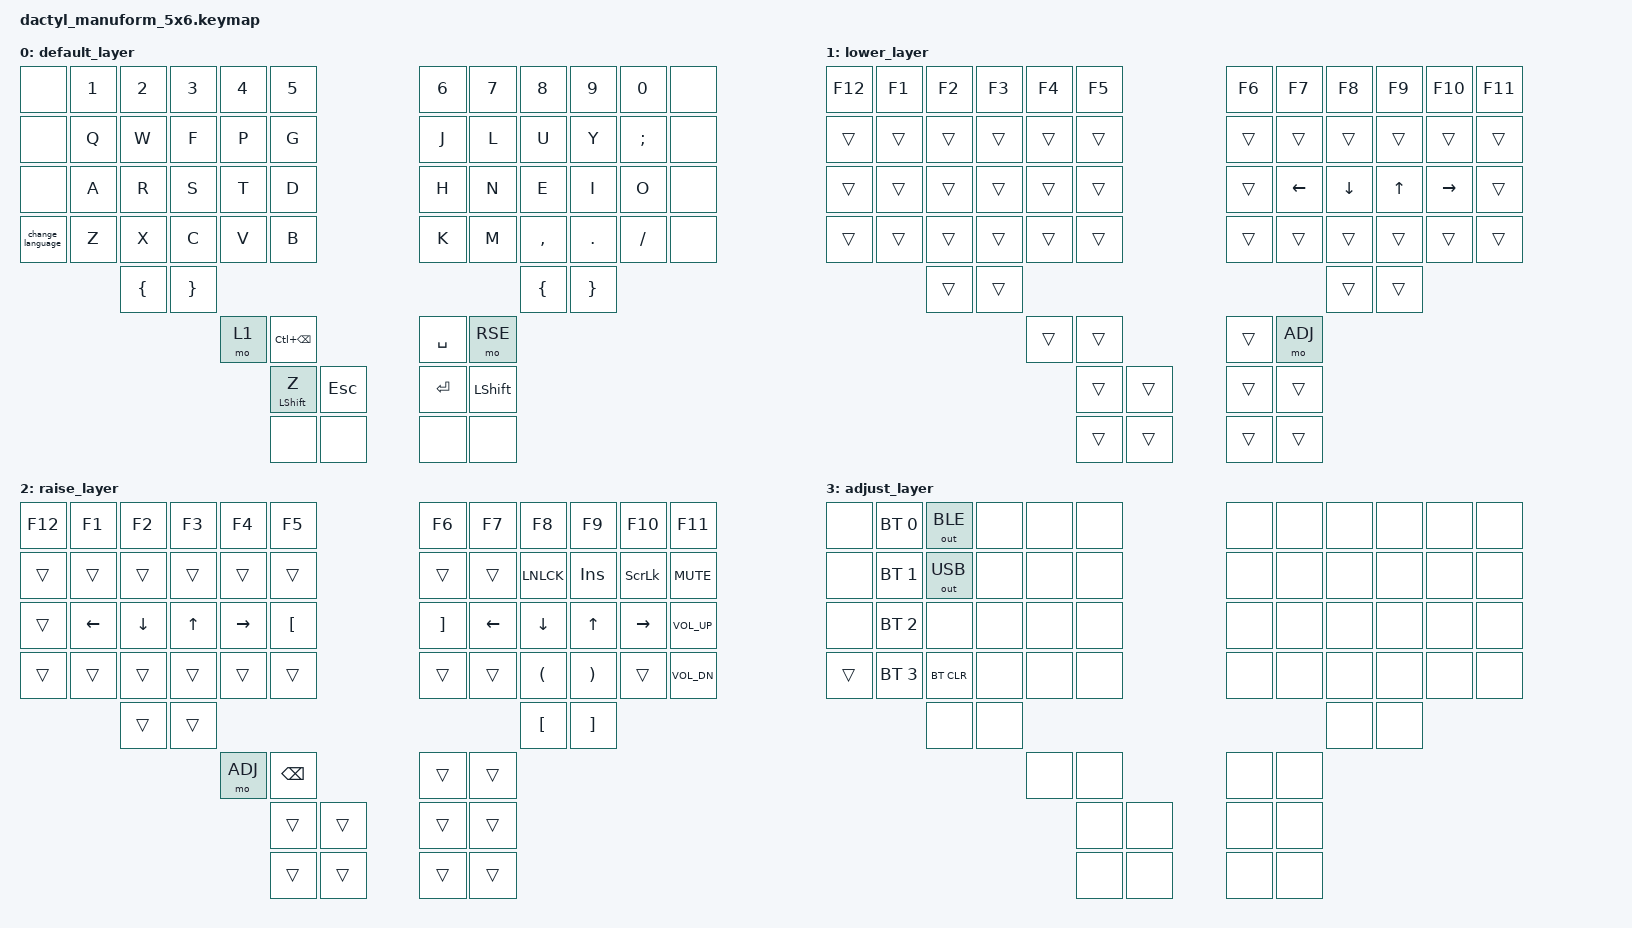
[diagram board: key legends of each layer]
#include <behaviors.dtsi>
#include <dt-bindings/zmk/bt.h>
#include <dt-bindings/zmk/keys.h>
#include <dt-bindings/zmk/outputs.h>

#define DEFAULT 0
#define LWR 1
#define RSE 2
#define ADJ 3
#define SPLIT_WATCHDOG_ENABLE

/ {
    behaviors {
        hml: home_row_mod_left {
            compatible = "zmk,behavior-hold-tap";
            label = "HOME_ROW_MOD_LEFT";
            flavor = "hold-preferred";
            tapping-term-ms = <280>;

            //require-prior-idle-ms = <150>;
            //quick-tap-ms = <175>;

            bindings = <&kp>, <&kp>;

            #binding-cells = <2>;
            hold-trigger-key-positions = <52 53>; // List of keys on the right side of the keyboard
            hold-trigger-on-release;
        };

        hmr: home_row_mod_right {
            compatible = "zmk,behavior-hold-tap";
            label = "HOME_ROW_MOD_RIGHT";
            flavor = "balanced";

            //require-prior-idle-ms = <150>;

            tapping-term-ms = <280>;

            //quick-tap-ms = <175>;

            bindings = <&kp>, <&kp>;

            #binding-cells = <2>; // List of keys on the left side of the keyboard
            hold-trigger-on-release;
        };

        test_behaviour: test_behaviour {
            compatible = "zmk,behavior-hold-tap";
            label = "TEST_BEHAVIOUR";
            bindings = <&kp>, <&kp>;

            #binding-cells = <2>;
            hold-trigger-key-positions = <42 43 31 30 6 7 8 9 10 11 18 19 20 21 22 23 30 31 32 33 34 35 42 43 44 45 46 47>;
            tapping-term-ms = <1000>;
        };
    };

    macros {
        change_language: change_language {
            compatible = "zmk,behavior-macro";
            #binding-cells = <0>;
            bindings =
                <&macro_press>,
                <&kp LWIN>,
                <&macro_tap>,
                <&kp SPACE>,
                <&macro_release>,
                <&kp LWIN>;

            label = "CHANGE_LANGUAGE";
        };
    };

    keymap {
        compatible = "zmk,keymap";

        default_layer {
            bindings = <
&none             &kp N1  &kp N2          &kp N3           &kp N4  &kp N5                                        &kp N6          &kp N7   &kp N8          &kp N9           &kp N0    &none
&none             &kp Q   &kp W           &kp F            &kp P   &kp G                                         &kp J           &kp L    &kp U           &kp Y            &kp SEMI  &none
&none             &kp A   &kp R           &kp S            &kp T   &kp D                                         &kp H           &kp N    &kp E           &kp I            &kp O     &none
&change_language  &kp Z   &kp X           &kp C            &kp V   &kp B                                         &kp K           &kp M    &kp COMMA       &kp DOT          &kp FSLH  &none
                          &kp LEFT_BRACE  &kp RIGHT_BRACE                                                                                 &kp LEFT_BRACE  &kp RIGHT_BRACE
                                                           &mo 1   &kp LC(BACKSPACE)                             &kp SPACE       &mo RSE
                                                                   &test_behaviour LSHIFT Z  &kp ESC  &kp ENTER  &kp LEFT_SHIFT
                                                                   &none                     &none    &none      &none
            >;
        };

        lower_layer {
            bindings = <
&kp F12  &kp F1  &kp F2  &kp F3  &kp F4  &kp F5                  &kp F6  &kp F7    &kp F8    &kp F9  &kp F10    &kp F11
&trans   &trans  &trans  &trans  &trans  &trans                  &trans  &trans    &trans    &trans  &trans     &trans
&trans   &trans  &trans  &trans  &trans  &trans                  &trans  &kp LEFT  &kp DOWN  &kp UP  &kp RIGHT  &trans
&trans   &trans  &trans  &trans  &trans  &trans                  &trans  &trans    &trans    &trans  &trans     &trans
                 &trans  &trans                                                    &trans    &trans
                                 &trans  &trans                  &trans  &mo ADJ
                                         &trans  &trans  &trans  &trans
                                         &trans  &trans  &trans  &trans
            >;
        };

        raise_layer {
            bindings = <
&kp F12  &kp F1    &kp F2    &kp F3  &kp F4     &kp F5                         &kp F6    &kp F7    &kp F8                &kp F9                 &kp F10    &kp F11
&trans   &trans    &trans    &trans  &trans     &trans                         &trans    &trans    &kp LNLCK             &kp INS                &kp SLCK   &kp K_MUTE
&trans   &kp LEFT  &kp DOWN  &kp UP  &kp RIGHT  &kp LBKT                       &kp RBKT  &kp LEFT  &kp DOWN              &kp UP                 &kp RIGHT  &kp K_VOL_UP
&trans   &trans    &trans    &trans  &trans     &trans                         &trans    &trans    &kp LEFT_PARENTHESIS  &kp RIGHT_PARENTHESIS  &trans     &kp K_VOL_DN
                   &trans    &trans                                                                &kp LEFT_BRACKET      &kp RIGHT_BRACKET
                                     &mo ADJ    &kp BACKSPACE                  &trans    &trans
                                                &trans         &trans  &trans  &trans
                                                &trans         &trans  &trans  &trans
            >;
        };

        adjust_layer {
            bindings = <
&none   &bt BT_SEL 0  &out OUT_BLE  &none  &none  &none                &none  &none  &none  &none  &none  &none
&none   &bt BT_SEL 1  &out OUT_USB  &none  &none  &none                &none  &none  &none  &none  &none  &none
&none   &bt BT_SEL 2  &none         &none  &none  &none                &none  &none  &none  &none  &none  &none
&trans  &bt BT_SEL 3  &bt BT_CLR    &none  &none  &none                &none  &none  &none  &none  &none  &none
                      &none         &none                                            &none  &none
                                           &none  &none                &none  &none
                                                  &none  &none  &none  &none
                                                  &none  &none  &none  &none
            >;
        };
    };
};
